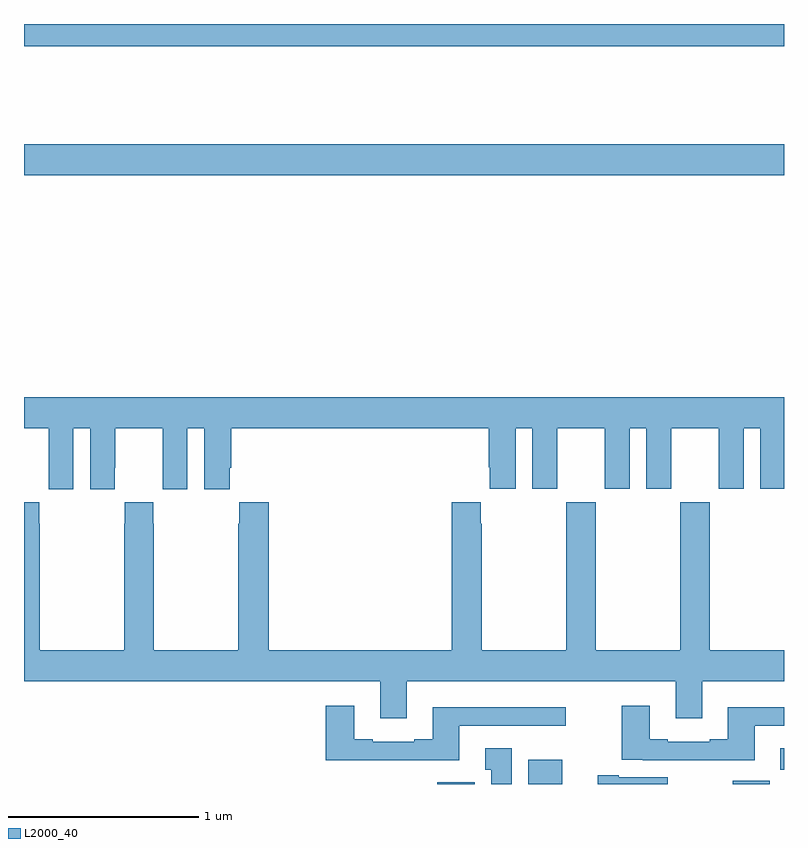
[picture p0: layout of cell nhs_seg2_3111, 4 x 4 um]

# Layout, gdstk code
import gdstk
lib = gdstk.Library(unit=1e-6, precision=1e-09)
def R(c, l, rs):  # rectangles x0, y0, x1, y1
    for r in rs: c.add(gdstk.rectangle(r[:2], r[2:], *l))
def P(c, l, *ps):  # polygons
    for p in ps: c.add(gdstk.Polygon(p, *l))
L2000_40 = (2000, 40)

nhs_seg2_3111 = lib.new_cell('nhs_seg2_3111')
R(nhs_seg2_3111, L2000_40, [(277.175,609.8,277.372,609.808), (277.655,609.8,277.834,609.928), (278.729,609.8,278.925,609.817), (278.981,609.875,279,609.988), (275,613.004,279,613.168), (275,613.684,279,613.8)])
P(nhs_seg2_3111, L2000_40, [(275,611.672),(275.129,611.672),(275.129,611.464),(275.13,611.464),(275.13,611.352),(275.26,611.352),(275.26,611.672),(275.348,611.672),(275.348,611.352),(275.478,611.352),(275.478,611.464),(275.479,611.464),(275.479,611.672),(275.729,611.672),(275.729,611.464),(275.73,611.464),(275.73,611.352),(275.86,611.352),(275.86,611.672),(275.948,611.672),(275.948,611.352),(276.082,611.352),(276.082,611.464),(276.092,611.464),(276.092,611.672),(277.445,611.672),(277.445,611.467),(277.451,611.467),(277.451,611.355),(277.588,611.355),(277.588,611.672),(277.676,611.672),(277.676,611.355),(277.807,611.355),(277.807,611.672),(278.057,611.672),(278.057,611.355),(278.188,611.355),(278.188,611.672),(278.276,611.672),(278.276,611.355),(278.407,611.355),(278.407,611.672),(278.657,611.672),(278.657,611.355),(278.788,611.355),(278.788,611.672),(278.876,611.672),(278.876,611.355),(279,611.355),(279,611.836),(275,611.836)],
  [(277.015,610.34),(278.429,610.34),(278.429,610.146),(278.569,610.146),(278.569,610.34),(279,610.34),(279,610.504),(278.61,610.504),(278.61,611.284),(278.455,611.284),(278.455,610.504),(278.01,610.504),(278.01,611.284),(277.855,611.284),(277.855,610.504),(277.41,610.504),(277.41,611.171),(277.405,611.171),(277.405,611.284),(277.25,611.284),(277.25,610.504),(276.287,610.504),(276.287,611.284),(276.133,611.284),(276.133,611.171),(276.127,611.171),(276.127,610.504),(275.682,610.504),(275.682,611.171),(275.679,611.171),(275.679,611.284),(275.529,611.284),(275.529,611.171),(275.527,611.171),(275.527,610.504),(275.082,610.504),(275.082,611.171),(275.079,611.171),(275.079,611.284),(275,611.284),(275,610.34),(276.875,610.34),(276.875,610.146),(277.015,610.146)],
  [(277.291,610.107),(277.852,610.107),(277.852,610.204),(277.151,610.204),(277.151,610.036),(277.055,610.036),(277.055,610.023),(276.835,610.023),(276.835,610.036),(276.739,610.036),(276.739,610.213),(276.587,610.213),(276.587,609.926),(277.291,609.926)],
  [(278.845,610.107),(279,610.107),(279,610.204),(278.705,610.204),(278.705,610.036),(278.609,610.036),(278.609,610.023),(278.389,610.023),(278.389,610.036),(278.293,610.036),(278.293,610.213),(278.146,610.213),(278.146,609.927),(278.257,609.927),(278.257,609.926),(278.845,609.926)],
  [(277.567,609.988),(277.427,609.988),(277.427,609.875),(277.46,609.875),(277.46,609.8),(277.567,609.8)],
  [(278.389,609.835),(278.131,609.835),(278.131,609.847),(278.019,609.847),(278.019,609.8),(278.389,609.8)])

lib.write_gds('nhs_seg2_3111.gds')
